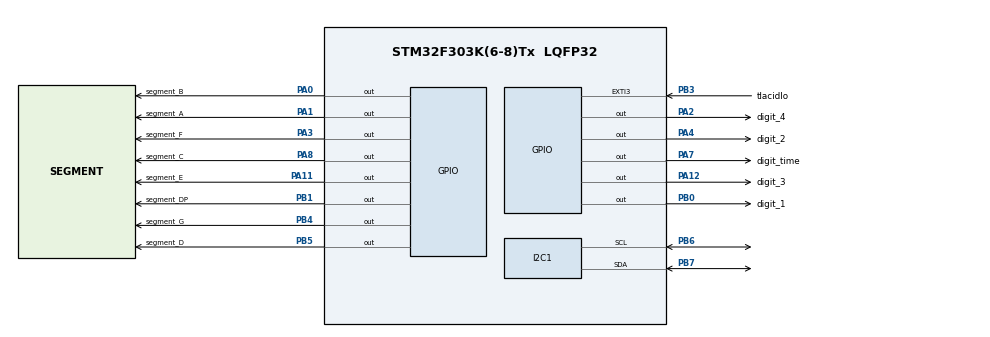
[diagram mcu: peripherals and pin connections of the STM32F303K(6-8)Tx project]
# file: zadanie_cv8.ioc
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I2C1.OwnAddress=1
Mcu.Family=STM32F3
Mcu.Name=STM32F303K(6-8)Tx
Mcu.Package=LQFP32
NVIC.EXTI3_IRQn=true\:0\:0\:false\:false\:true\:true\:true
NVIC.I2C1_EV_IRQn=true\:0\:0\:false\:false\:true\:true\:true
NVIC.PriorityGroup=NVIC_PRIORITYGROUP_4
NVIC.TIM2_IRQn=true\:0\:0\:false\:false\:true\:true\:true
NVIC.TIM3_IRQn=true\:0\:0\:false\:false\:true\:true\:true
PA0.GPIO_Label=segment_B
PA0.Signal=GPIO_Output
PA1.GPIO_Label=segment_A
PA1.Signal=GPIO_Output
PA11.GPIO_Label=segment_E
PA11.Signal=GPIO_Output
PA12.GPIO_Label=digit_3
PA12.Signal=GPIO_Output
PA2.GPIO_Label=digit_4
PA2.Signal=GPIO_Output
PA3.GPIO_Label=segment_F
PA3.Signal=GPIO_Output
PA4.GPIO_Label=digit_2
PA4.Signal=GPIO_Output
PA7.GPIO_Label=digit_time
PA7.Signal=GPIO_Output
PA8.GPIO_Label=segment_C
PA8.Signal=GPIO_Output
PB0.GPIO_Label=digit_1
PB0.Signal=GPIO_Output
PB1.GPIO_Label=segment_DP
PB1.Signal=GPIO_Output
PB3.GPIO_Label=tlacidlo
PB3.GPIO_ModeDefaultEXTI=GPIO_MODE_IT_FALLING
PB3.GPIO_PuPd=GPIO_PULLUP
PB3.Signal=GPXTI3
PB4.GPIO_Label=segment_G
PB4.Signal=GPIO_Output
PB5.GPIO_Label=segment_D
PB5.Signal=GPIO_Output
PB6.Mode=I2C
PB6.Signal=I2C1_SCL
PB7.Mode=I2C
PB7.Signal=I2C1_SDA
ProjectManager.HeapSize=0x200
ProjectManager.StackSize=0x400
ProjectManager.TargetToolchain=STM32CubeIDE
RCC.AHBFreq_Value=8000000
RCC.APB1Freq_Value=8000000
RCC.APB2Freq_Value=8000000
RCC.CortexFreq_Value=8000000
RCC.HSE_VALUE=8000000
RCC.HSI_VALUE=8000000
RCC.SYSCLKFreq_VALUE=8000000
TIM2.Channel-Output\ Compare1\ No\ Output=TIM_CHANNEL_1
TIM2.OCMode_1=TIM_OCMODE_ACTIVE
TIM2.Period=1
TIM2.Prescaler=8000
TIM3.Channel-Output\ Compare1\ No\ Output=TIM_CHANNEL_1
TIM3.OCMode_1=TIM_OCMODE_ACTIVE
TIM3.Period=500
TIM3.Prescaler=8000
VP_TIM2_VS_ClockSourceINT.Mode=Internal
VP_TIM2_VS_no_output1.Mode=Output Compare1 No Output
VP_TIM3_VS_ClockSourceINT.Mode=Internal
VP_TIM3_VS_no_output1.Mode=Output Compare1 No Output
board=custom

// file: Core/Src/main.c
/* USER CODE BEGIN Header */
/**
  ******************************************************************************
  * @file           : main.c
  * @brief          : Main program body
  ******************************************************************************
  * @attention
  *
  * <h2><center>&copy; Copyright (c) 2020 STMicroelectronics.
  * All rights reserved.</center></h2>
  *
  * This software component is licensed by ST under BSD 3-Clause license,
  * the "License"; You may not use this file except in compliance with the
  * License. You may obtain a copy of the License at:
  *                        opensource.org/licenses/BSD-3-Clause
  *
  ******************************************************************************
  */
/* USER CODE END Header */
#include "main.h"
#include "i2c.h"
#include "tim.h"
#include "gpio.h"

/* USER CODE BEGIN Includes */

#include "lsm6ds0.h"
#include "hts221.h"
#include "lps25hb.h"
#include "lis3mdltr.h"
#include "math.h"
/* USER CODE END Includes */

/* USER CODE BEGIN PV */
//niake oznacenie by sa ti hodilo, aby si vedel, ze sa jedna o globalnu premenu..
float data[NUM_DATA]; // {azimuth, temperature, humidity, pressure, altitude}
float minDataVal[] = {-99.9, -99.9, 0, 0, -9999.9};
float maxDataVal[] = {99.9, 99.9, 99, 9999.99, 9999.9};
uint8_t dataID = 0;
uint8_t check[3];
static float mag[3];
/* USER CODE END PV */

void SystemClock_Config(void);
/* USER CODE BEGIN PFP */
void writeDisplay();
float calcAzimuth(float x, float y);
float calcAltitude(float pressure, float temperature);
float adjustData(float value, float minValue, float maxValue);
/* USER CODE END PFP */

int main(void)
{

  /* MCU Configuration--------------------------------------------------------*/

  /* Reset of all peripherals, Initializes the Flash interface and the Systick. */

  LL_APB2_GRP1_EnableClock(LL_APB2_GRP1_PERIPH_SYSCFG);
  LL_APB1_GRP1_EnableClock(LL_APB1_GRP1_PERIPH_PWR);

  NVIC_SetPriorityGrouping(NVIC_PRIORITYGROUP_4);

  /* System interrupt init*/

  /* Configure the system clock */
  SystemClock_Config();

  /* Initialize all configured peripherals */
  MX_GPIO_Init();
  MX_TIM2_Init();
  MX_TIM3_Init();
  MX_I2C1_Init();
  /* USER CODE BEGIN 2 */
  //lsm6ds0_init();
  check[0] = hts221_init();
  check[1] = lps25hb_init();
  check[2] = lis3mdl_init();
  /* USER CODE END 2 */

  /* Infinite loop */
  while (1)
  {

    /* USER CODE BEGIN 3 */
	  MAIN_updateData();

	  LL_mDelay(50);
  }
  /* USER CODE END 3 */
}

void SystemClock_Config(void)
{
  LL_FLASH_SetLatency(LL_FLASH_LATENCY_0);
  while(LL_FLASH_GetLatency()!= LL_FLASH_LATENCY_0)
  {
  }
  LL_RCC_HSI_Enable();

   /* Wait till HSI is ready */
  while(LL_RCC_HSI_IsReady() != 1)
  {

  }
  LL_RCC_HSI_SetCalibTrimming(16);
  LL_RCC_SetAHBPrescaler(LL_RCC_SYSCLK_DIV_1);
  LL_RCC_SetAPB1Prescaler(LL_RCC_APB1_DIV_1);
  LL_RCC_SetAPB2Prescaler(LL_RCC_APB1_DIV_1);
  LL_RCC_SetSysClkSource(LL_RCC_SYS_CLKSOURCE_HSI);

   /* Wait till System clock is ready */
  while(LL_RCC_GetSysClkSource() != LL_RCC_SYS_CLKSOURCE_STATUS_HSI)
  {

  }
  LL_Init1msTick(8000000);
  LL_SetSystemCoreClock(8000000);
  LL_RCC_SetI2CClockSource(LL_RCC_I2C1_CLKSOURCE_HSI);
}

/* USER CODE BEGIN 4 */
	void writeDisplay(){
		static char compStr[13];
		switch (dataID){
			case 0:
				DISPLAY_setCompStr(compStr ,sprintf((char*) compStr,"MAG_%04.1f",data[dataID]));
				break;
			case 1:
				DISPLAY_setCompStr(compStr ,sprintf((char*) compStr,"TEMP_%04.1f",data[dataID]));
				break;
			case 2:
				DISPLAY_setCompStr(compStr ,sprintf((char*) compStr ,"HUM_%02d",(int)data[dataID]));
				break;
			case 3:
				DISPLAY_setCompStr(compStr ,sprintf((char*) compStr,"BAR_%07.2f",data[dataID]));
				break;
			case 4:
				DISPLAY_setCompStr(compStr ,sprintf((char*) compStr,"ALT_%06.1f",data[dataID]));
				break;
		}
	}

	void MAIN_buttonShiftDataID(){
		dataID++;
		dataID %= 5;
		DISPLAY_resetCurPos();
	}

	uint8_t MAIN_checkButtonState(GPIO_TypeDef* PORT, uint8_t PIN, uint8_t edge, uint8_t samples_window, uint8_t samples_required)
	{
		//check edge of the button
		uint8_t cnt = 0; // counts samples in row
		for(; samples_window > 0 ; samples_window--){
			if( edge ^ LL_GPIO_IsInputPinSet(tlacidlo_GPIO_Port, tlacidlo_Pin))
				cnt++;
			else
				cnt = 0;

			if(cnt >= samples_required)
				return 1;
		}
		return 0;
	}

	void MAIN_updateData(){

		lis3mdl_get_mag(mag,(mag+1), (mag+2));
		data[0] = adjustData(calcAzimuth(mag[0], mag[1]),minDataVal[0],maxDataVal[0]);
		data[1] = adjustData(hts221_get_temp(),minDataVal[1],maxDataVal[1]);
		data[2] = adjustData(hts221_get_humidity(),minDataVal[2],maxDataVal[2]);
		data[3] = adjustData(lps25hb_get_press(),minDataVal[3],maxDataVal[3]);
		data[4] = adjustData(calcAltitude(data[1], data[3]),minDataVal[4],maxDataVal[4]);

		writeDisplay();
	}

	float adjustData(float value, float minValue, float maxValue){
		// saturation of data

		if(value < minValue){
			value = minValue;
		}

		if(value > maxValue){
			value = maxValue;
		}
		return value;
	}

	float calcAzimuth(float x, float y){
		// x, y [gauss] (magnetic induction)

		return (float) 90.0f  + (atan2((double)y,(double)x)) * 180.0f/3.1415f;
	}

	float calcAltitude(float temperature, float pressure){
		// temperature [°C]
		// pressure [hPa]

		// https://keisan.casio.com/has10/SpecExec.cgi?id=system/2006/1224585971

		const float P0 = 1013.25;
		return (float) (pow((double)(P0/pressure), (double)(1.0f/5.257f)) -1.0f) * (temperature + 273.15f)/0.0065f;
	}
/* USER CODE END 4 */

void Error_Handler(void)
{
}

/************************ (C) COPYRIGHT STMicroelectronics *****END OF FILE****/
